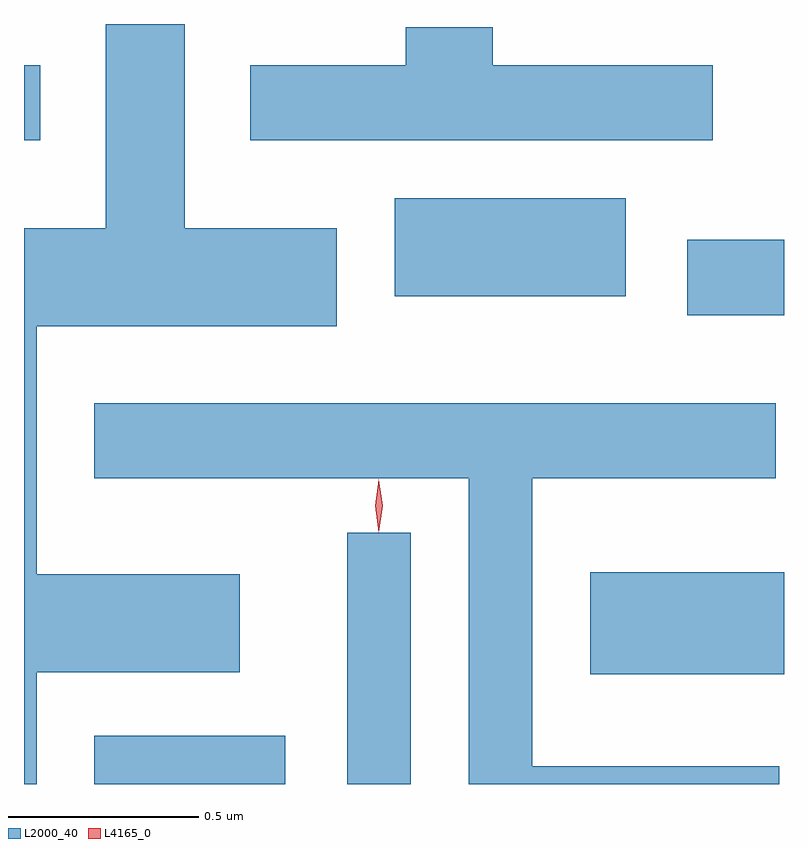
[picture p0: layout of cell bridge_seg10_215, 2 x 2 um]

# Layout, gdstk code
import gdstk
lib = gdstk.Library(unit=1e-6, precision=1e-09)
def R(c, l, rs):  # rectangles x0, y0, x1, y1
    for r in rs: c.add(gdstk.rectangle(r[:2], r[2:], *l))
def P(c, l, *ps):  # polygons
    for p in ps: c.add(gdstk.Polygon(p, *l))
L2000_40 = (2000, 40)
L4165_0 = (4165, 0)

bridge_seg10_215 = lib.new_cell('bridge_seg10_215')
R(bridge_seg10_215, L2000_40, [(1894.486,2141.512,1894.989,2141.639), (1895.151,2141.512,1895.319,2142.173), (1895.791,2141.801,1896.301,2142.069), (1896.046,2142.746,1896.301,2142.944), (1895.276,2142.796,1895.884,2143.054), (1894.301,2143.206,1894.344,2143.404)])
P(bridge_seg10_215, L2000_40, [(1894.334,2141.806),(1894.869,2141.806),(1894.869,2142.064),(1894.334,2142.064),(1894.334,2142.716),(1895.124,2142.716),(1895.124,2142.974),(1894.724,2142.974),(1894.724,2143.512),(1894.516,2143.512),(1894.516,2142.974),(1894.301,2142.974),(1894.301,2141.512),(1894.334,2141.512)],
  [(1896.114,2143.404),(1895.534,2143.404),(1895.534,2143.504),(1895.306,2143.504),(1895.306,2143.404),(1894.896,2143.404),(1894.896,2143.206),(1896.114,2143.206)],
  [(1896.288,2141.559),(1895.639,2141.559),(1895.639,2142.316),(1896.279,2142.316),(1896.279,2142.514),(1894.486,2142.514),(1894.486,2142.316),(1895.471,2142.316),(1895.471,2141.512),(1896.288,2141.512)])
P(bridge_seg10_215, L4165_0, [(1895.235,2142.174),(1895.234,2142.175),(1895.225,2142.244),(1895.234,2142.313),(1895.235,2142.314),(1895.235,2142.313),(1895.245,2142.244),(1895.235,2142.175)])

lib.write_gds('bridge_seg10_215.gds')
